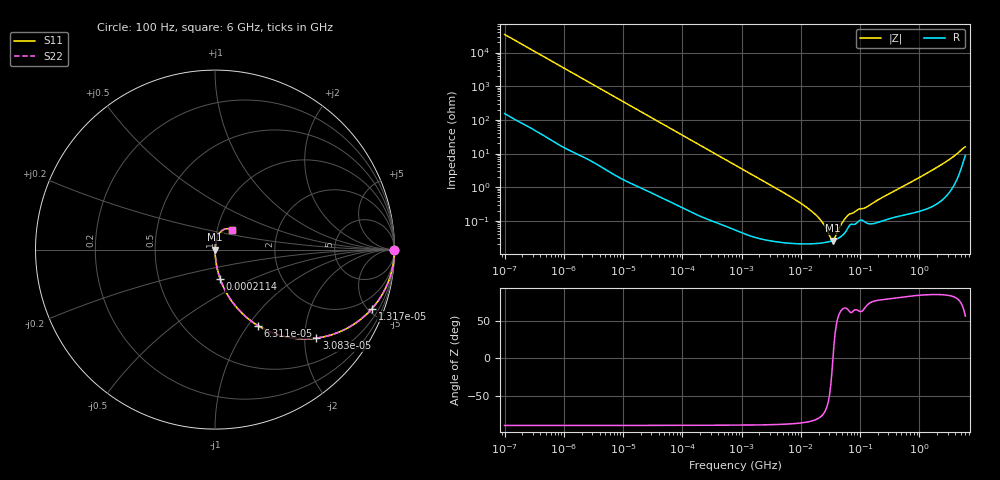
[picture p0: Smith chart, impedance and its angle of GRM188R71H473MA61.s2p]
!Murata Part Number: GRM188R71H473MA61
!These Parameters are Measured in Series Mode Connection
!Data Generated on Mar 30, 2021
!  o--ll--o
!Port1  Port2
!  o------o
!Operation Temp=25[degC], DC Bias Voltage=0[V]
!Freq. Start=100[Hz] Stop=6[GHz] 401[Steps]
# Hz S RI R 50
!Freq.(Hz) S11(Real) S11(Imag) S21(Real) S21(Imag) S12(Real) S12(Imag) S22(Real) S22(Imag)
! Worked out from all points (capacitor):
!   401 points, 100 Hz to 6 GHz, reference 50 ohm
!   read as one part in series: C = 46 nF near 109 Hz
!   lowest |Z| = 25.8 mohm at 34.83 MHz (marker M1)
!   series resonance near 34.85 MHz, so ESL is about 450 pH
!   S11 on the Smith chart (normalised r, x): 100 Hz: open; 13.17 kHz: 1.03, -5.32; 30.83 kHz: 1.01, -2.28; 63.12 kHz: 1.01, -1.12; 211.4 kHz: 1.00, -0.33; 6 GHz: 1.17, +0.26
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100  1 -0.00289  2.13e-05 0.00289  2.13e-05 0.00289  1 -0.00289
2008  0.9964 -0.0574  0.00358 0.0574  0.00358 0.0574  0.9964 -0.0574
5378  0.9762 -0.1501  0.0238 0.1501  0.0238 0.1501  0.9762 -0.1501
13169  0.875 -0.3283  0.125 0.3283  0.125 0.3283  0.875 -0.3283
30832  0.5645 -0.4929  0.4355 0.4929  0.4355 0.4929  0.5645 -0.4929
40335  0.4323 -0.4924  0.5677 0.4924  0.5677 0.4924  0.4323 -0.4924
63115  0.239 -0.4232  0.761 0.4232  0.761 0.4232  0.239 -0.4232
108014  0.0982 -0.2941  0.9018 0.2941  0.9018 0.2941  0.0982 -0.2941
211427  0.0285 -0.1624  0.9715 0.1624  0.9715 0.1624  0.0285 -0.1624
774597  0.00264 -0.0458  0.9974 0.0458  0.9974 0.0458  0.00264 -0.0458
6644369  0.000241 -0.00521  0.9998 0.00521  0.9998 0.00521  0.000241 -0.00521
1.555665e7  0.000211 -0.00186  0.9998 0.00186  0.9998 0.00186  0.000211 -0.00186
2.225763e7  0.000219 -0.000964  0.9998 0.000964  0.9998 0.000964  0.000219 -0.000964
3.184506e7  0.000246 -0.000189  0.9998 0.000189  0.9998 0.000189  0.000246 -0.000189
3.482834e7  0.000258 -1.5e-06  0.9997 1.5e-06  0.9997 1.5e-06  0.000258 -1.5e-06
3.80911e7  0.000273 0.000188  0.9997 -0.000188  0.9997 -0.000188  0.000273 0.000188
4.983056e7  0.000362 0.000789  0.9996 -0.000789  0.9996 -0.000789  0.000362 0.000789
6.233367e7  0.000609 0.00132  0.9994 -0.00132  0.9994 -0.00132  0.000609 0.00132
1.275994e8  0.000874 0.00237  0.9991 -0.00237  0.9991 -0.00237  0.000874 0.00237
3.124326e8  0.00119 0.00629  0.9988 -0.00629  0.9988 -0.00629  0.00119 0.00629
1.95892e9  0.00455 0.0378  0.9954 -0.0378  0.9954 -0.0378  0.00455 0.0378
6e9  0.0934 0.1096  0.9066 -0.1096  0.9066 -0.1096  0.0934 0.1096
